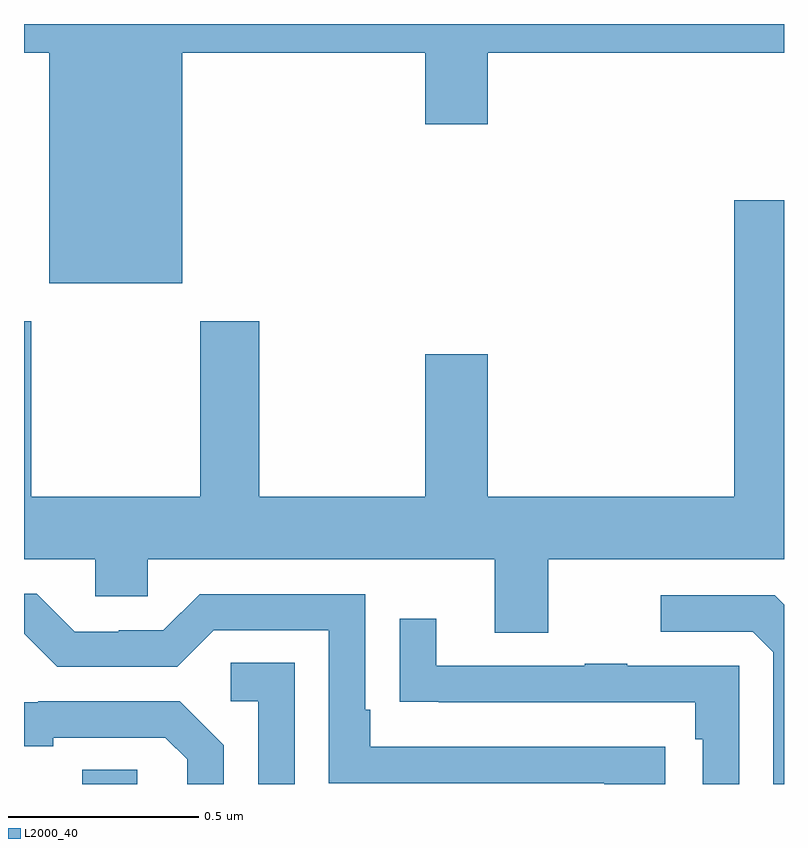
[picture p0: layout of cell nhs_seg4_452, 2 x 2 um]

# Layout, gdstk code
import gdstk
lib = gdstk.Library(unit=1e-6, precision=1e-09)
def R(c, l, rs):  # rectangles x0, y0, x1, y1
    for r in rs: c.add(gdstk.rectangle(r[:2], r[2:], *l))
def P(c, l, *ps):  # polygons
    for p in ps: c.add(gdstk.Polygon(p, *l))
L2000_40 = (2000, 40)

nhs_seg4_452 = lib.new_cell('nhs_seg4_452')
R(nhs_seg4_452, L2000_40, [(116.153,790.9,116.298,790.937)])
P(nhs_seg4_452, L2000_40, [(116.416,792.824),(117.056,792.824),(117.056,792.636),(117.22,792.636),(117.22,792.824),(118,792.824),(118,792.9),(116,792.9),(116,792.824),(116.066,792.824),(116.066,792.218),(116.416,792.218)],
  [(117.379,791.492),(118,791.492),(118,792.436),(117.869,792.436),(117.869,791.656),(117.22,791.656),(117.22,792.031),(117.056,792.031),(117.056,791.656),(116.619,791.656),(116.619,792.118),(116.464,792.118),(116.464,791.656),(116.019,791.656),(116.019,792.118),(116,792.118),(116,791.492),(116.187,791.492),(116.187,791.394),(116.325,791.394),(116.325,791.492),(117.239,791.492),(117.239,791.298),(117.379,791.298)],
  [(117.688,790.998),(116.911,790.998),(116.911,791.095),(116.898,791.095),(116.898,791.4),(116.463,791.4),(116.367,791.304),(116.249,791.304),(116.249,791.301),(116.133,791.301),(116.033,791.401),(116,791.401),(116,791.296),(116.088,791.208),(116.403,791.208),(116.499,791.304),(116.802,791.304),(116.802,790.902),(117.527,790.902),(117.527,790.9),(117.688,790.9)],
  [(118,791.372),(117.975,791.397),(117.675,791.397),(117.675,791.301),(117.918,791.301),(117.972,791.247),(117.972,790.9),(118,790.9)],
  [(117.882,791.211),(117.587,791.211),(117.587,791.216),(117.475,791.216),(117.475,791.211),(117.085,791.211),(117.085,791.335),(116.989,791.335),(116.989,791.116),(117.091,791.116),(117.091,791.115),(117.766,791.115),(117.766,791.018),(117.786,791.018),(117.786,790.9),(117.882,790.9)],
  [(116.712,791.219),(116.544,791.219),(116.544,791.118),(116.616,791.118),(116.616,790.9),(116.712,790.9)],
  [(116.526,791.002),(116.41,791.118),(116.038,791.118),(116.038,791.115),(116,791.115),(116,791),(116.077,791),(116.077,791.022),(116.372,791.022),(116.429,790.965),(116.429,790.9),(116.526,790.9)])

lib.write_gds('nhs_seg4_452.gds')
